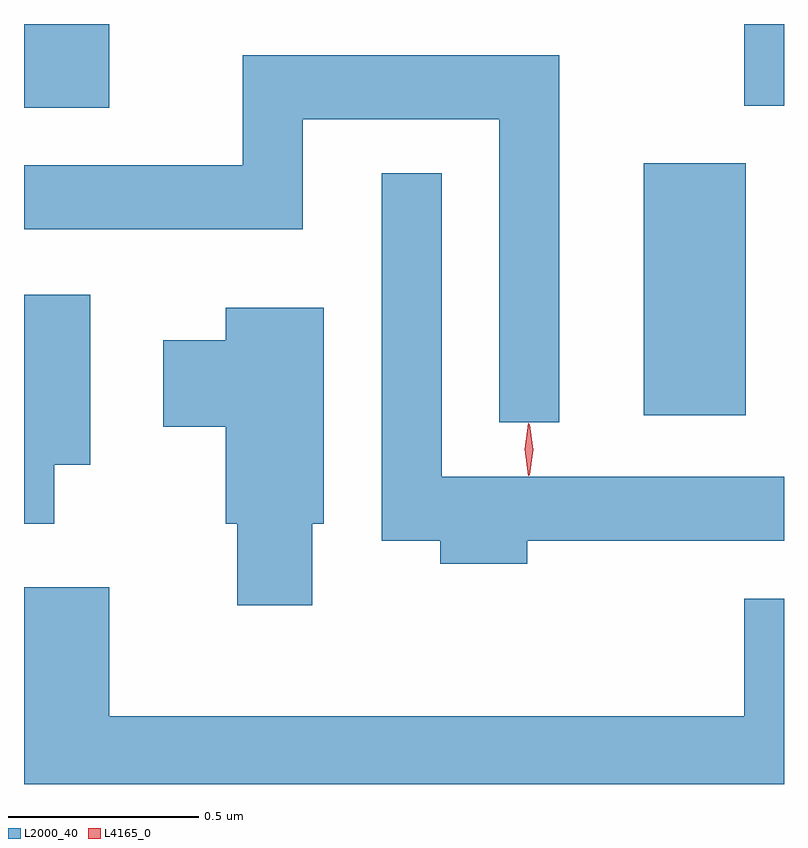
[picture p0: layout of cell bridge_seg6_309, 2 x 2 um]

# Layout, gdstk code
import gdstk
lib = gdstk.Library(unit=1e-6, precision=1e-09)
def R(c, l, rs):  # rectangles x0, y0, x1, y1
    for r in rs: c.add(gdstk.rectangle(r[:2], r[2:], *l))
def P(c, l, *ps):  # polygons
    for p in ps: c.add(gdstk.Polygon(p, *l))
L2000_40 = (2000, 40)
L4165_0 = (4165, 0)

bridge_seg6_309 = lib.new_cell('bridge_seg6_309')
R(bridge_seg6_309, L2000_40, [(1314.156,1535.556,1314.424,1536.219), (1312.525,1536.366,1312.749,1536.586), (1314.421,1536.371,1314.525,1536.586)])
P(bridge_seg6_309, L2000_40, [(1313.934,1536.504),(1313.101,1536.504),(1313.101,1536.214),(1312.525,1536.214),(1312.525,1536.046),(1313.259,1536.046),(1313.259,1536.336),(1313.776,1536.336),(1313.776,1535.538),(1313.934,1535.538)],
  [(1313.849,1535.226),(1314.525,1535.226),(1314.525,1535.394),(1313.624,1535.394),(1313.624,1536.193),(1313.466,1536.193),(1313.466,1535.226),(1313.621,1535.226),(1313.621,1535.166),(1313.849,1535.166)],
  [(1312.604,1535.426),(1312.699,1535.426),(1312.699,1535.874),(1312.525,1535.874),(1312.525,1535.271),(1312.604,1535.271)],
  [(1313.284,1535.271),(1313.314,1535.271),(1313.314,1535.839),(1313.056,1535.839),(1313.056,1535.754),(1312.891,1535.754),(1312.891,1535.526),(1313.056,1535.526),(1313.056,1535.271),(1313.086,1535.271),(1313.086,1535.056),(1313.284,1535.056)],
  [(1314.525,1535.074),(1314.421,1535.074),(1314.421,1534.764),(1312.749,1534.764),(1312.749,1535.104),(1312.525,1535.104),(1312.525,1534.586),(1314.525,1534.586)])
P(bridge_seg6_309, L4165_0, [(1313.855,1535.399),(1313.854,1535.4),(1313.845,1535.466),(1313.854,1535.532),(1313.855,1535.533),(1313.856,1535.532),(1313.865,1535.466),(1313.856,1535.4)],
  [(1313.852,1535.397),(1313.843,1535.467),(1313.852,1535.536),(1313.853,1535.536),(1313.853,1535.536),(1313.863,1535.467),(1313.853,1535.397),(1313.853,1535.397)])

lib.write_gds('bridge_seg6_309.gds')
